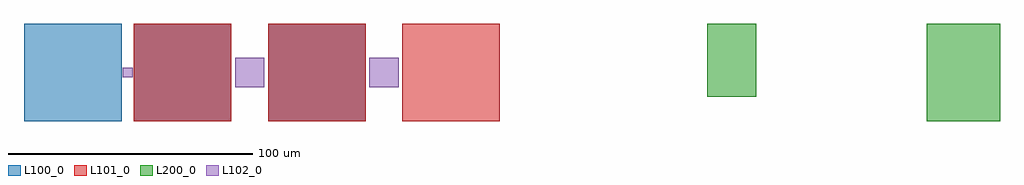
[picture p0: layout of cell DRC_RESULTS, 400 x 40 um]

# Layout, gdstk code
import gdstk
lib = gdstk.Library(unit=1e-6, precision=1e-09)
def R(c, l, rs):  # rectangles x0, y0, x1, y1
    for r in rs: c.add(gdstk.rectangle(r[:2], r[2:], *l))
def A(c, l, x, y, w, h, nx, ny, dx, dy):  # array of equal rectangles
    R(c, l, [(x+i*dx, y+j*dy, x+i*dx+w, y+j*dy+h) for i in range(nx) for j in range(ny)])
L100_0 = (100, 0)
L101_0 = (101, 0)
L102_0 = (102, 0)
L200_0 = (200, 0)

drc_results = lib.new_cell('DRC_RESULTS')
R(drc_results, L100_0, [(0,0,40,40), (45,0,85,40), (100,0,140,40)])
A(drc_results, L101_0, 45, 0, 40, 40, 3, 1, 55, 0)
R(drc_results, L102_0, [(86.5,14,98.5,26), (141.5,14,153.5,26), (40.5,18,44.5,22)])
R(drc_results, L200_0, [(370,0,400,40), (280,10,300,40)])

lib.write_gds('DRC_RESULTS.gds')
